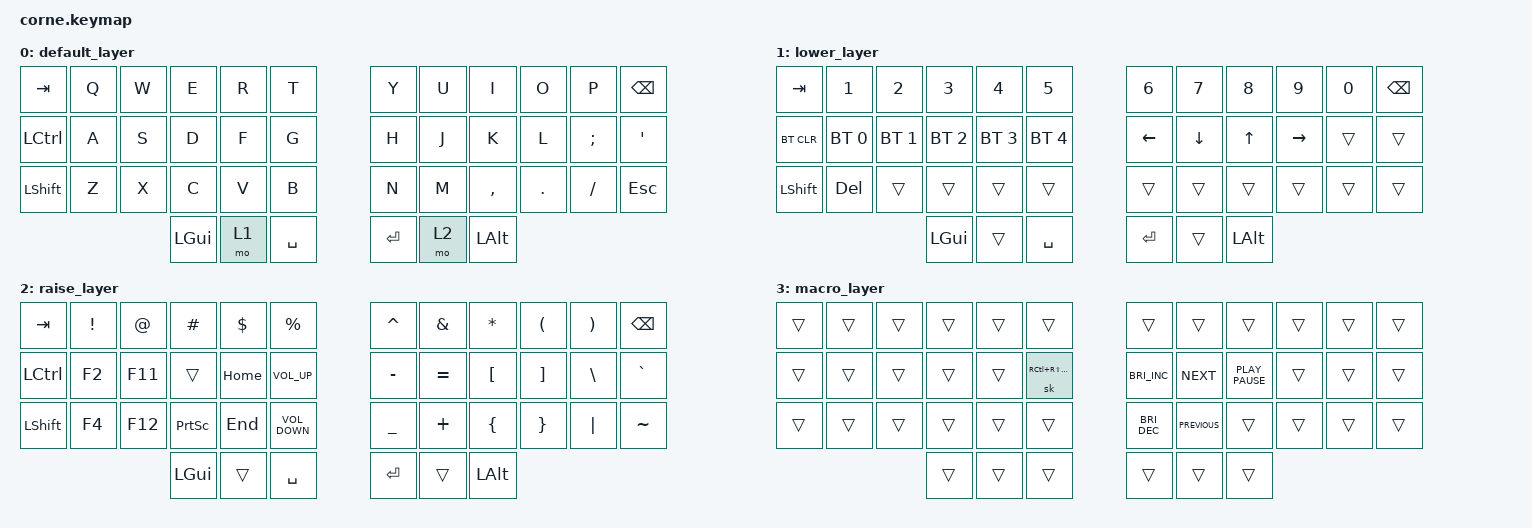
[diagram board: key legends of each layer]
/*
 * Copyright (c) 2020 The ZMK Contributors
 *
 * SPDX-License-Identifier: MIT
 */

#include <behaviors.dtsi>
#include <dt-bindings/zmk/bt.h>
#include <dt-bindings/zmk/keys.h>

/ {
    combos {
        compatible = "zmk,combos";

        macro_combo {
            bindings = <&mo 3>;
            key-positions = <37 40>;
        };
    };

    keymap {
        compatible = "zmk,keymap";

        default_layer {
            // -----------------------------------------------------------------------------------------
            // |  TAB |  Q  |  W  |  E  |  R  |  T  |   |  Y  |  U   |  I  |  O  |  P  | BKSP |
            // | CTRL |  A  |  S  |  D  |  F  |  G  |   |  H  |  J   |  K  |  L  |  ;  |  '   |
            // | SHFT |  Z  |  X  |  C  |  V  |  B  |   |  N  |  M   |  ,  |  .  |  /  | ESC  |
            //                    | GUI | LWR |  SPC |   | ENT | RSE  | left_ALT |

            bindings = <
&kp TAB    &kp Q  &kp W  &kp E     &kp R  &kp T        &kp Y      &kp U  &kp I      &kp O    &kp P     &kp BSPC
&kp LCTRL  &kp A  &kp S  &kp D     &kp F  &kp G        &kp H      &kp J  &kp K      &kp L    &kp SEMI  &kp SQT
&kp LSHFT  &kp Z  &kp X  &kp C     &kp V  &kp B        &kp N      &kp M  &kp COMMA  &kp DOT  &kp FSLH  &kp ESC
                         &kp LGUI  &mo 1  &kp SPACE    &kp ENTER  &mo 2  &kp LALT
            >;
        };

        lower_layer {
            // -----------------------------------------------------------------------------------------
            // |  TAB |  1  |  2  |  3  |  4  |  5  |   |  6  |  7  |  8  |  9  |  0  | BKSP |
            // | BTCLR| BT1 | BT2 | BT3 | BT4 | BT5 |   | LFT | DWN |  UP | RGT |     |      |
            // | SHFT |  DEL  |     |     |     |     |   |     |     |     |     |     |      |
            //                    | GUI |     | SPC |   | ENT |     | left_ALT |

            bindings = <
&kp TAB     &kp N1        &kp N2        &kp N3        &kp N4        &kp N5          &kp N6    &kp N7    &kp N8    &kp N9     &kp N0  &kp BSPC
&bt BT_CLR  &bt BT_SEL 0  &bt BT_SEL 1  &bt BT_SEL 2  &bt BT_SEL 3  &bt BT_SEL 4    &kp LEFT  &kp DOWN  &kp UP    &kp RIGHT  &trans  &trans
&kp LSHFT   &kp DEL       &trans        &trans        &trans        &trans          &trans    &trans    &trans    &trans     &trans  &trans
                                        &kp LGUI      &trans        &kp SPACE       &kp RET   &trans    &kp LALT
            >;
        };

        raise_layer {
            // -----------------------------------------------------------------------------------------
            // |  TAB |  !  |  @  |  #  |  $  |  %  |   |  ^  |  &  |  *  |  (  |  )  | BKSP |
            // | CTRL | F2  | F11  |     | HOME|  VOL+   |   |  -  |  =  |  [  |  ]  |  \  |  `   |
            // | SHFT | F4  | F12 |PSCRN| END |   VOL-  |   |  _  |  +  |  {  |  }  | "|" |  ~   |
            //                    | GUI |     | SPC |   | ENT |     | left_ALT |

            bindings = <
&kp TAB    &kp EXCL  &kp AT   &kp HASH   &kp DLLR  &kp PRCNT            &kp CARET  &kp AMPS   &kp ASTRK  &kp LPAR  &kp RPAR  &kp BSPC
&kp LCTRL  &kp F2    &kp F11  &trans     &kp HOME  &kp C_VOLUME_UP      &kp MINUS  &kp EQUAL  &kp LBKT   &kp RBKT  &kp BSLH  &kp GRAVE
&kp LSHFT  &kp F4    &kp F12  &kp PSCRN  &kp END   &kp C_VOLUME_DOWN    &kp UNDER  &kp PLUS   &kp LBRC   &kp RBRC  &kp PIPE  &kp TILDE
                              &kp LGUI   &trans    &kp SPACE            &kp RET    &trans     &kp LALT
            >;
        };

        macro_layer {
            bindings = <
&trans  &trans  &trans  &trans  &trans  &trans             &trans                &trans          &trans            &trans  &trans  &trans
&trans  &trans  &trans  &trans  &trans  &sk RC(RS(DEL))    &kp C_BRIGHTNESS_INC  &kp C_NEXT      &kp K_PLAY_PAUSE  &trans  &trans  &trans
&trans  &trans  &trans  &trans  &trans  &trans             &kp C_BRIGHTNESS_DEC  &kp C_PREVIOUS  &trans            &trans  &trans  &trans
                        &trans  &trans  &trans             &trans                &trans          &trans
            >;
        };
    };
};
